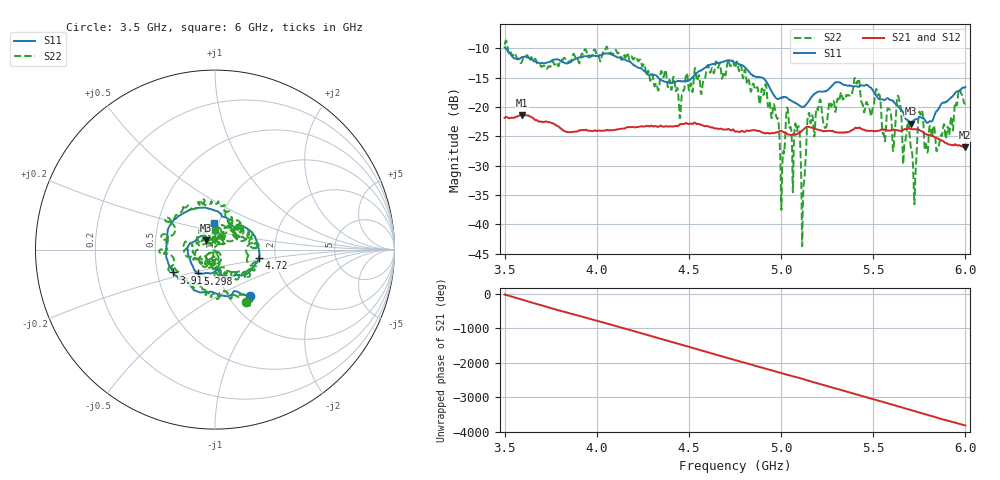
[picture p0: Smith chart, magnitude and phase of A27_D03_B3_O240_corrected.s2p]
! Created with skrf 1.9.0 (http://scikit-rf.org).
# Hz S RI R 50.0
!freq ReS11 ImS11 ReS21 ImS21 ReS12 ImS12 ReS22 ImS22
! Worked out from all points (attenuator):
!   1601 points, 3.5 GHz to 6 GHz, reference 50 ohm
!   highest |S21| = -21.39 dB at 3.592 GHz (marker M1); lowest = -26.9 dB at 5.997 GHz (marker M2)
!   lowest |S11| = -22.9 dB at 5.705 GHz (marker M3), VSWR 1.15, Z = 45.1 + j4.78 ohm
!   |S11| at or under -10 dB: 3.505 GHz to end of sweep
!   |S22| runs from -43.7 to -8.7 dB; largest |S21 - S12| = 0.00099
!   S11 on the Smith chart (normalised r, x): 3.5 GHz: 1.26, -0.72; 3.913 GHz: 0.61, -0.17; 4.72 GHz: 1.64, -0.16; 5.298 GHz: 0.80, -0.22; 6 GHz: 0.94, +0.28
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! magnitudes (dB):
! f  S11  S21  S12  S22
! 3.5 GHz  -9.8  -21.9  -21.8  -9.4
! 3.592 GHz  -11.5  -21.4  -21.4  -12.4
! 3.913 GHz  -11.6  -24.0  -23.9  -11.5
! 3.917 GHz  -11.5  -23.9  -23.9  -11.0
! 4.334 GHz  -15.0  -23.4  -23.3  -17.2
! 4.72 GHz  -12.0  -23.8  -23.8  -12.7
! 4.75 GHz  -12.5  -24.2  -24.1  -13.4
! 4.969 GHz  -18.3  -24.4  -24.3  -21.0
! 5.006 GHz  -18.4  -24.1  -24.1  -30.3
! 5.034 GHz  -18.5  -24.7  -24.6  -20.1
! 5.088 GHz  -19.5  -24.6  -24.6  -23.9
! 5.12 GHz  -20.0  -23.9  -23.8  -34.7
! 5.145 GHz  -19.2  -23.4  -23.3  -21.5
! 5.167 GHz  -18.2  -23.5  -23.5  -21.5
! 5.298 GHz  -15.8  -24.3  -24.3  -20.2
! 5.584 GHz  -18.6  -24.0  -24.0  -20.3
! 5.705 GHz  -22.9  -23.8  -23.7  -27.0
! 5.723 GHz  -22.2  -23.8  -23.7  -36.6
! 5.756 GHz  -21.7  -24.0  -24.0  -21.3
! 5.85 GHz  -20.5  -25.4  -25.3  -26.8
! 5.997 GHz  -16.7  -26.9  -26.8  -19.4
! 6 GHz  -16.6  -26.9  -26.8  -19.4
